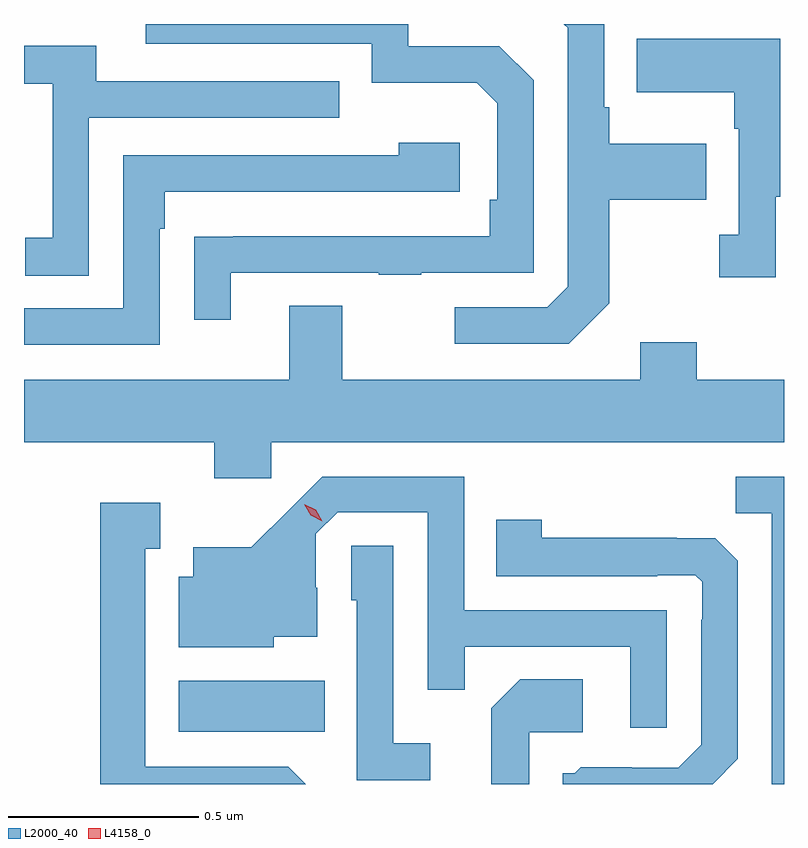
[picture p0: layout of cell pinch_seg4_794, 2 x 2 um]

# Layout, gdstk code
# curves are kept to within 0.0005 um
import gdstk
lib = gdstk.Library(unit=1e-6, precision=1e-09)
def R(c, l, rs):  # rectangles x0, y0, x1, y1
    for r in rs: c.add(gdstk.rectangle(r[:2], r[2:], *l))
def P(c, l, *ps):  # polygons
    for p in ps: c.add(gdstk.Polygon(p, *l))
L2000_40 = (2000, 40)
L4158_0 = (4158, 0)

pinch_seg4_794 = lib.new_cell('pinch_seg4_794')
R(pinch_seg4_794, L2000_40, [(792.272,817.37,792.656,817.504)])
P(pinch_seg4_794, L2000_40, [(792.409,818.577),(792.799,818.577),(792.799,818.572),(792.911,818.572),(792.911,818.577),(793.206,818.577),(793.206,819.084),(793.116,819.174),(792.876,819.174),(792.876,819.232),(792.185,819.232),(792.185,819.18),(792.78,819.18),(792.78,819.077),(793.057,819.077),(793.11,819.024),(793.11,818.77),(793.09,818.77),(793.09,818.673),(792.415,818.673),(792.415,818.672),(792.313,818.672),(792.313,818.454),(792.409,818.454)],
  [(793.405,818.497),(793.405,818.77),(793.661,818.77),(793.661,818.917),(793.405,818.917),(793.405,819.013),(793.392,819.013),(793.392,819.232),(793.286,819.232),(793.296,819.222),(793.296,818.541),(793.242,818.487),(792.999,818.487),(792.999,818.391),(793.299,818.391)],
  [(793.843,818.777),(793.855,818.777),(793.855,819.193),(793.477,819.193),(793.477,819.053),(793.734,819.053),(793.734,818.957),(793.746,818.957),(793.746,818.678),(793.695,818.678),(793.695,818.565),(793.843,818.565)],
  [(792.036,818.985),(792.695,818.985),(792.695,819.081),(792.055,819.081),(792.055,819.175),(791.865,819.175),(791.865,819.075),(791.94,819.075),(791.94,818.67),(791.868,818.67),(791.868,818.569),(792.036,818.569)],
  [(792.222,818.693),(792.235,818.693),(792.235,818.79),(793.012,818.79),(793.012,818.92),(792.851,818.92),(792.851,818.886),(792.126,818.886),(792.126,818.484),(791.865,818.484),(791.865,818.388),(792.222,818.388)],
  [(792.516,818.132),(793.865,818.132),(793.865,818.296),(793.635,818.296),(793.635,818.395),(793.487,818.395),(793.487,818.296),(792.703,818.296),(792.703,818.491),(792.563,818.491),(792.563,818.296),(791.865,818.296),(791.865,818.132),(792.365,818.132),(792.365,818.037),(792.516,818.037)],
  [(793.865,818.04),(793.738,818.04),(793.738,817.945),(793.833,817.945),(793.833,817.232),(793.865,817.232)],
  [(793.557,817.689),(793.023,817.689),(793.023,818.04),(792.65,818.04),(792.463,817.855),(792.311,817.855),(792.311,817.777),(792.272,817.777),(792.272,817.592),(792.522,817.592),(792.522,817.619),(792.637,817.619),(792.637,817.748),(792.633,817.748),(792.633,817.89),(792.69,817.947),(792.927,817.947),(792.927,817.48),(793.025,817.48),(793.025,817.593),(793.461,817.593),(793.461,817.38),(793.557,817.38)],
  [(792.561,817.278),(792.184,817.278),(792.184,817.851),(792.223,817.851),(792.223,817.972),(792.066,817.972),(792.066,817.232),(792.607,817.232)],
  [(793.743,817.298),(793.743,817.82),(793.684,817.879),(793.583,817.879),(793.583,817.88),(793.227,817.88),(793.227,817.927),(793.108,817.927),(793.108,817.779),(793.532,817.779),(793.532,817.782),(793.632,817.782),(793.65,817.764),(793.65,817.664),(793.647,817.664),(793.647,817.335),(793.587,817.275),(793.464,817.275),(793.464,817.276),(793.33,817.276),(793.314,817.26),(793.283,817.26),(793.283,817.232),(793.678,817.232)],
  [(792.934,817.339),(792.837,817.339),(792.837,817.859),(792.726,817.859),(792.726,817.716),(792.741,817.716),(792.741,817.242),(792.934,817.242)],
  [(793.194,817.368),(793.336,817.368),(793.336,817.508),(793.171,817.508),(793.095,817.432),(793.095,817.232),(793.194,817.232)])
P(pinch_seg4_794, L4158_0, [(792.65,817.924),(792.619,817.939),(792.602,817.968),(792.602,817.968),(792.602,817.968),(792.633,817.954),(792.65,817.924),(792.65,817.924)])

lib.write_gds('pinch_seg4_794.gds')
